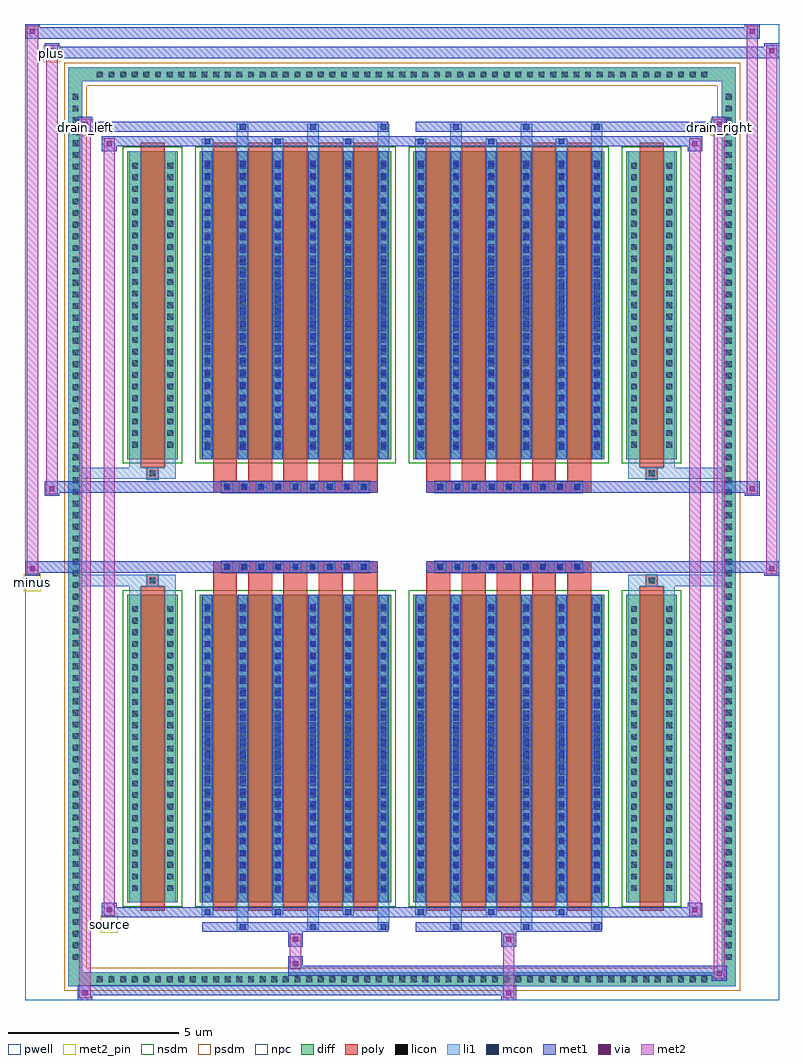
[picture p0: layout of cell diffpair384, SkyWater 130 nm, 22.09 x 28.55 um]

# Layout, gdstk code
import gdstk
lib = gdstk.Library(unit=1e-6, precision=5e-09)
def R(c, l, rs):  # rectangles x0, y0, x1, y1
    for r in rs: c.add(gdstk.rectangle(r[:2], r[2:], *l))
def A(c, l, x, y, w, h, nx, ny, dx, dy):  # array of equal rectangles
    R(c, l, [(x+i*dx, y+j*dy, x+i*dx+w, y+j*dy+h) for i in range(nx) for j in range(ny)])
def P(c, l, *ps):  # polygons
    for p in ps: c.add(gdstk.Polygon(p, *l))
pwell = (64, 44)
diff = (65, 20)
poly = (66, 20)
licon = (66, 44)
li1 = (67, 20)
mcon = (67, 44)
met1 = (68, 20)
via = (68, 44)
met2_pin = (69, 16)
met2 = (69, 20)
nsdm = (93, 44)
psdm = (94, 20)
npc = (95, 20)

diffpair384 = lib.new_cell('diffpair384')
R(diffpair384, pwell, [(-11.03,-13.84,11.03,14.71), (-8.35,-12.03,-0.01,-0.805), (0.01,-12.03,8.35,-0.805), (-8.35,0.805,-0.01,12.03), (0.01,0.805,8.35,12.03)])
A(diffpair384, diff, -9.045, -13.44, 0.41, 0.41, 53, 2, 0.34, 26.47)
A(diffpair384, diff, -9.76, -12.785, 0.41, 0.41, 1, 75, 0, 0.34)
A(diffpair384, diff, 9.35, -12.785, 0.41, 0.41, 1, 75, 0, 0.34)
R(diffpair384, diff, [(-9.045,-13.44,9.045,-13.03), (-9.76,-12.785,-9.35,12.785), (9.35,-12.785,9.76,12.785), (-8.04,-10.985,-6.56,-1.985), (-5.92,-10.985,-0.32,-1.985), (0.32,-10.985,5.92,-1.985), (6.56,-10.985,8.04,-1.985), (-8.04,1.985,-6.56,10.985), (-5.92,1.985,-0.32,10.985), (0.32,1.985,5.92,10.985), (6.56,1.985,8.04,10.985), (-9.045,13.03,9.045,13.44)])
P(diffpair384, diff, [(9.76,13.44),(-9.76,13.44),(-9.76,-13.03),(-9.35,-13.03),(-9.35,13.03),(9.35,13.03),(9.35,-13.03),(-9.35,-13.03),(-9.76,-13.03),(-9.76,-13.44),(9.76,-13.44)])
A(diffpair384, poly, -5.53, -11.235, 0.7, 9.5, 5, 2, 1.03, 12.97)
A(diffpair384, poly, 0.71, -11.235, 0.7, 9.5, 5, 2, 1.03, 12.97)
A(diffpair384, poly, -5.53, -1.735, 0.7, 0.4, 5, 2, 1.03, 3.07)
A(diffpair384, poly, 0.71, -1.735, 0.7, 0.4, 5, 2, 1.03, 3.07)
A(diffpair384, poly, -5.285, -1.335, 0.33, 0.33, 9, 2, 0.5, 2.34)
A(diffpair384, poly, 0.955, -1.335, 0.33, 0.33, 9, 2, 0.5, 2.34)
R(diffpair384, poly, [(-7.65,-11.235,-6.95,-1.735), (6.95,-11.235,7.65,-1.735), (-7.465,-1.735,-7.135,-1.405), (-7.465,-1.735,-7.135,-1.405), (7.135,-1.735,7.465,-1.405), (7.135,-1.735,7.465,-1.405), (-5.53,-1.335,-0.71,-1.005), (0.71,-1.335,5.53,-1.005), (-5.53,1.005,-0.71,1.335), (0.71,1.005,5.53,1.335), (-7.465,1.405,-7.135,1.735), (-7.465,1.405,-7.135,1.735), (7.135,1.405,7.465,1.735), (7.135,1.405,7.465,1.735), (-7.65,1.735,-6.95,11.235), (6.95,1.735,7.65,11.235)])
A(diffpair384, licon, -8.925, -13.32, 0.17, 0.17, 53, 2, 0.34, 26.47)
A(diffpair384, licon, -9.64, -12.665, 0.17, 0.17, 1, 75, 0, 0.34)
A(diffpair384, licon, 9.47, -12.665, 0.17, 0.17, 1, 75, 0, 0.34)
A(diffpair384, licon, -7.9, -10.65, 0.17, 0.17, 1, 25, 0, 0.34)
A(diffpair384, licon, -6.87, -10.65, 0.17, 0.17, 1, 25, 0, 0.34)
A(diffpair384, licon, -5.78, -10.65, 0.17, 0.17, 6, 25, 1.03, 0.34)
A(diffpair384, licon, 0.46, -10.65, 0.17, 0.17, 6, 25, 1.03, 0.34)
A(diffpair384, licon, 6.7, -10.65, 0.17, 0.17, 1, 25, 0, 0.34)
A(diffpair384, licon, 7.73, -10.65, 0.17, 0.17, 1, 25, 0, 0.34)
A(diffpair384, licon, -5.205, -1.255, 0.17, 0.17, 9, 2, 0.5, 2.34)
A(diffpair384, licon, 1.035, -1.255, 0.17, 0.17, 9, 2, 0.5, 2.34)
A(diffpair384, licon, -7.9, 2.32, 0.17, 0.17, 1, 25, 0, 0.34)
A(diffpair384, licon, -6.87, 2.32, 0.17, 0.17, 1, 25, 0, 0.34)
A(diffpair384, licon, -5.78, 2.32, 0.17, 0.17, 6, 25, 1.03, 0.34)
A(diffpair384, licon, 0.46, 2.32, 0.17, 0.17, 6, 25, 1.03, 0.34)
A(diffpair384, licon, 6.7, 2.32, 0.17, 0.17, 1, 25, 0, 0.34)
A(diffpair384, licon, 7.73, 2.32, 0.17, 0.17, 1, 25, 0, 0.34)
R(diffpair384, licon, [(-7.385,-1.655,-7.215,-1.485), (7.215,-1.655,7.385,-1.485), (-7.385,1.485,-7.215,1.655), (7.215,1.485,7.385,1.655)])
A(diffpair384, li1, -9.005, -13.4, 0.33, 0.33, 53, 2, 0.34, 26.47)
A(diffpair384, li1, -9.72, -12.745, 0.33, 0.33, 1, 75, 0, 0.34)
A(diffpair384, li1, 9.39, -12.745, 0.33, 0.33, 1, 75, 0, 0.34)
A(diffpair384, li1, -4.83, -11.79, 0.33, 0.805, 3, 2, 2.06, 22.775)
A(diffpair384, li1, -4.75, -11.79, 0.17, 0.17, 3, 2, 2.06, 23.41)
A(diffpair384, li1, 1.41, -11.79, 0.33, 0.805, 3, 2, 2.06, 22.775)
A(diffpair384, li1, 1.49, -11.79, 0.17, 0.17, 3, 2, 2.06, 23.41)
A(diffpair384, li1, -5.86, -11.36, 0.33, 0.375, 3, 2, 2.06, 22.345)
A(diffpair384, li1, -5.78, -11.36, 0.17, 0.17, 3, 2, 2.06, 22.55)
A(diffpair384, li1, 0.38, -11.36, 0.33, 0.375, 3, 2, 2.06, 22.345)
A(diffpair384, li1, 0.46, -11.36, 0.17, 0.17, 3, 2, 2.06, 22.55)
A(diffpair384, li1, -5.86, -10.985, 0.33, 9, 6, 2, 1.03, 12.97)
A(diffpair384, li1, 0.38, -10.985, 0.33, 9, 6, 2, 1.03, 12.97)
A(diffpair384, li1, -7.98, -10.73, 0.33, 0.33, 1, 25, 0, 0.34)
A(diffpair384, li1, -6.95, -10.73, 0.33, 0.33, 1, 25, 0, 0.34)
A(diffpair384, li1, -5.86, -10.73, 0.33, 0.33, 6, 25, 1.03, 0.34)
A(diffpair384, li1, 0.38, -10.73, 0.33, 0.33, 6, 25, 1.03, 0.34)
A(diffpair384, li1, 6.62, -10.73, 0.33, 0.33, 1, 25, 0, 0.34)
A(diffpair384, li1, 7.65, -10.73, 0.33, 0.33, 1, 25, 0, 0.34)
A(diffpair384, li1, -5.78, -10.71, 0.17, 0.17, 6, 24, 1.03, 0.36)
A(diffpair384, li1, -5.78, -10.71, 0.17, 8.45, 6, 2, 1.03, 12.97)
A(diffpair384, li1, 0.46, -10.71, 0.17, 0.17, 6, 24, 1.03, 0.36)
A(diffpair384, li1, 0.46, -10.71, 0.17, 8.45, 6, 2, 1.03, 12.97)
A(diffpair384, li1, -5.285, -1.335, 0.33, 0.33, 9, 2, 0.5, 2.34)
A(diffpair384, li1, 0.955, -1.335, 0.33, 0.33, 9, 2, 0.5, 2.34)
A(diffpair384, li1, -7.98, 2.24, 0.33, 0.33, 1, 25, 0, 0.34)
A(diffpair384, li1, -6.95, 2.24, 0.33, 0.33, 1, 25, 0, 0.34)
A(diffpair384, li1, -5.86, 2.24, 0.33, 0.33, 6, 25, 1.03, 0.34)
A(diffpair384, li1, 0.38, 2.24, 0.33, 0.33, 6, 25, 1.03, 0.34)
A(diffpair384, li1, 6.62, 2.24, 0.33, 0.33, 1, 25, 0, 0.34)
A(diffpair384, li1, 7.65, 2.24, 0.33, 0.33, 1, 25, 0, 0.34)
A(diffpair384, li1, -5.78, 2.26, 0.17, 0.17, 6, 24, 1.03, 0.36)
A(diffpair384, li1, 0.46, 2.26, 0.17, 0.17, 6, 24, 1.03, 0.36)
R(diffpair384, li1, [(-9.76,-13.44,-9.35,-13.03), (-9.76,-13.44,-9.35,-13.03), (-9.35,-13.44,9.35,-13.03), (9.35,-13.44,9.76,-13.03), (9.35,-13.44,9.76,-13.03), (-9.76,-13.03,-9.35,13.03), (9.35,-13.03,9.76,13.03), (-7.98,-10.985,-7.65,-1.985), (-6.95,-10.985,-6.62,-1.985), (6.62,-10.985,6.95,-1.985), (7.65,-10.985,7.98,-1.985), (-7.98,-1.985,-7.65,-1.405), (-6.95,-1.985,-6.62,-1.405), (6.62,-1.985,6.95,-1.405), (7.65,-1.985,7.98,-1.405), (-9.76,-1.735,-7.465,-1.405), (-7.98,-1.735,-7.465,-1.405), (-7.465,-1.735,-7.135,-1.405), (-7.135,-1.735,-6.62,-1.405), (6.62,-1.735,7.135,-1.405), (7.135,-1.735,7.465,-1.405), (7.135,-1.735,9.76,-1.405), (7.465,-1.735,7.98,-1.405), (-9.76,1.405,-7.465,1.735), (-7.98,1.405,-7.465,1.735), (-7.98,1.405,-7.65,1.985), (-7.465,1.405,-7.135,1.735), (-7.135,1.405,-6.62,1.735), (-6.95,1.405,-6.62,1.985), (6.62,1.405,7.135,1.735), (6.62,1.405,6.95,1.985), (7.135,1.405,7.465,1.735), (7.135,1.405,9.76,1.735), (7.465,1.405,7.98,1.735), (7.65,1.405,7.98,1.985), (-7.98,1.985,-7.65,10.985), (-6.95,1.985,-6.62,10.985), (6.62,1.985,6.95,10.985), (7.65,1.985,7.98,10.985), (-9.76,13.03,-9.35,13.44), (-9.76,13.03,-9.35,13.44), (-9.35,13.03,9.35,13.44), (9.35,13.03,9.76,13.44), (9.35,13.03,9.76,13.44)])
A(diffpair384, mcon, -4.75, -11.79, 0.17, 0.17, 3, 2, 2.06, 23.41)
A(diffpair384, mcon, 1.49, -11.79, 0.17, 0.17, 3, 2, 2.06, 23.41)
A(diffpair384, mcon, -5.78, -11.36, 0.17, 0.17, 3, 2, 2.06, 22.55)
A(diffpair384, mcon, 0.46, -11.36, 0.17, 0.17, 3, 2, 2.06, 22.55)
A(diffpair384, mcon, -5.78, -10.71, 0.17, 0.17, 6, 24, 1.03, 0.36)
A(diffpair384, mcon, 0.46, -10.71, 0.17, 0.17, 6, 24, 1.03, 0.36)
A(diffpair384, mcon, -5.205, -1.255, 0.17, 0.17, 9, 2, 0.5, 2.34)
A(diffpair384, mcon, 1.035, -1.255, 0.17, 0.17, 9, 2, 0.5, 2.34)
A(diffpair384, mcon, -5.78, 2.26, 0.17, 0.17, 6, 24, 1.03, 0.36)
A(diffpair384, mcon, 0.46, 2.26, 0.17, 0.17, 6, 24, 1.03, 0.36)
A(diffpair384, met1, -4.81, -11.85, 0.29, 0.29, 3, 2, 2.06, 23.41)
A(diffpair384, met1, 1.43, -11.85, 0.29, 0.29, 3, 2, 2.06, 23.41)
A(diffpair384, met1, -5.84, -11.42, 0.29, 0.29, 3, 2, 2.06, 22.55)
A(diffpair384, met1, 0.4, -11.42, 0.29, 0.29, 3, 2, 2.06, 22.55)
A(diffpair384, met1, -5.84, -10.985, 0.29, 9, 6, 2, 1.03, 12.97)
A(diffpair384, met1, 0.4, -10.985, 0.29, 9, 6, 2, 1.03, 12.97)
A(diffpair384, met1, -5.84, -10.77, 0.29, 0.29, 6, 24, 1.03, 0.36)
A(diffpair384, met1, 0.4, -10.77, 0.29, 0.29, 6, 24, 1.03, 0.36)
A(diffpair384, met1, -5.265, -1.315, 0.29, 0.29, 9, 2, 0.5, 2.34)
A(diffpair384, met1, 0.975, -1.315, 0.29, 0.29, 9, 2, 0.5, 2.34)
A(diffpair384, met1, -5.84, 2.2, 0.29, 0.29, 6, 24, 1.03, 0.36)
A(diffpair384, met1, 0.4, 2.2, 0.29, 0.29, 6, 24, 1.03, 0.36)
R(diffpair384, met1, [(-9.49,-13.84,-9.06,-13.41), (2.905,-13.84,3.335,-13.41), (-9.49,-13.7,3.335,-13.41), (9.06,-13.27,9.49,-12.84), (-3.335,-13.13,9.49,-12.84), (-3.335,-12.99,-2.905,-12.56), (-3.335,-12.28,-2.905,-11.85), (2.905,-12.28,3.335,-11.85), (-5.84,-11.85,-0.4,-11.56), (0.4,-11.85,5.84,-11.56), (-8.78,-11.42,-8.35,-10.99), (-8.78,-11.42,-5.84,-11.13), (-5.84,-11.42,-0.4,-11.13), (-0.4,-11.42,0.4,-11.13), (0.4,-11.42,5.84,-11.13), (5.84,-11.42,8.78,-11.13), (8.35,-11.42,8.78,-10.99), (-11.03,-1.435,-10.6,-1.005), (10.6,-1.435,11.03,-1.005), (-11.03,-1.335,-0.71,-1.005), (-5.53,-1.335,-0.71,-1.005), (0.71,-1.335,5.53,-1.005), (0.71,-1.335,11.03,-1.005), (-10.46,0.905,-10.03,1.335), (10.03,0.905,10.46,1.335), (-10.46,1.005,-5.53,1.335), (-5.53,1.005,-0.71,1.335), (0.71,1.005,5.53,1.335), (5.53,1.005,10.46,1.335), (-8.78,10.99,-8.35,11.42), (8.35,10.99,8.78,11.42), (-8.78,11.13,-5.84,11.42), (-5.84,11.13,-0.4,11.42), (-0.4,11.13,0.4,11.42), (0.4,11.13,5.84,11.42), (5.84,11.13,8.78,11.42), (-9.49,11.56,-9.06,11.99), (-9.49,11.56,-5.84,11.85), (-5.84,11.56,-0.4,11.85), (0.4,11.56,5.84,11.85), (5.84,11.56,9.49,11.85), (9.06,11.56,9.49,11.99), (-10.46,13.71,-10.03,14.14), (-10.46,13.71,-8.35,14.04), (-8.35,13.71,8.35,14.04), (8.35,13.71,11.03,14.04), (10.6,13.71,11.03,14.14), (-11.03,14.28,-10.6,14.71), (-11.03,14.28,-8.35,14.61), (-8.35,14.28,8.35,14.61), (8.35,14.28,10.46,14.61), (10.03,14.28,10.46,14.71)])
R(diffpair384, via, [(-9.35,-13.7,-9.2,-13.55), (3.045,-13.7,3.195,-13.55), (9.2,-13.13,9.35,-12.98), (-3.195,-12.85,-3.045,-12.7), (-3.195,-12.14,-3.045,-11.99), (3.045,-12.14,3.195,-11.99), (-8.64,-11.28,-8.49,-11.13), (8.49,-11.28,8.64,-11.13), (-10.89,-1.295,-10.74,-1.145), (10.74,-1.295,10.89,-1.145), (-10.32,1.045,-10.17,1.195), (10.17,1.045,10.32,1.195), (-8.64,11.13,-8.49,11.28), (8.49,11.13,8.64,11.28), (-9.35,11.7,-9.2,11.85), (9.2,11.7,9.35,11.85), (-10.32,13.85,-10.17,14), (10.74,13.85,10.89,14), (-10.89,14.42,-10.74,14.57), (10.17,14.42,10.32,14.57)])
R(diffpair384, met2_pin, [(-8.815,-11.87,-8.315,-11.37), (-11.065,-1.885,-10.565,-1.385), (-9.525,11.44,-9.025,11.94), (9.025,11.44,9.525,11.94), (-10.495,13.59,-9.995,14.09)])
R(diffpair384, met2, [(-9.44,-13.79,-9.11,-13.46), (-9.44,-13.79,-9.11,11.94), (2.955,-13.79,3.285,-13.46), (2.955,-13.46,3.285,-12.23), (9.11,-13.22,9.44,-12.89), (9.11,-13.22,9.44,11.94), (-3.285,-12.94,-2.955,-12.61), (-3.285,-12.61,-2.955,-12.23), (-3.285,-12.23,-2.955,-11.9), (2.955,-12.23,3.285,-11.9), (-8.73,-11.37,-8.4,-11.04), (-8.73,-11.37,-8.4,11.37), (8.4,-11.37,8.73,-11.04), (8.4,-11.37,8.73,11.37), (-10.98,-1.385,-10.65,-1.055), (-10.98,-1.385,-10.65,14.66), (10.65,-1.385,10.98,-1.055), (10.65,-1.385,10.98,14.09), (-10.41,0.955,-10.08,1.285), (-10.41,0.955,-10.08,14.09), (10.08,0.955,10.41,1.285), (10.08,0.955,10.41,14.66), (-8.73,11.04,-8.4,11.37), (8.4,11.04,8.73,11.37), (-9.44,11.61,-9.11,11.94), (9.11,11.61,9.44,11.94), (-10.41,13.76,-10.08,14.09), (10.65,13.76,10.98,14.09), (-10.98,14.33,-10.65,14.66), (10.08,14.33,10.41,14.66)])
P(diffpair384, met2, [(10.98,-1.385),(10.98,-1.385),(10.98,-1.055),(10.98,-1.055)],
  [(10.98,13.76),(10.98,13.76),(10.98,14.09),(10.98,14.09)],
  [(-10.65,-1.385),(-10.65,-1.385),(-10.65,-1.055),(-10.65,-1.055)],
  [(-10.65,14.33),(-10.65,14.33),(-10.65,14.66),(-10.65,14.66)],
  [(10.41,0.955),(10.41,0.955),(10.41,1.285),(10.41,1.285)],
  [(10.41,14.33),(10.41,14.33),(10.41,14.66),(10.41,14.66)],
  [(-10.08,0.955),(-10.08,0.955),(-10.08,1.285),(-10.08,1.285)],
  [(-10.08,13.76),(-10.08,13.76),(-10.08,14.09),(-10.08,14.09)],
  [(-9.11,-13.79),(-9.11,-13.79),(-9.11,-13.46),(-9.11,-13.46)],
  [(-9.11,11.61),(-9.11,11.61),(-9.11,11.94),(-9.11,11.94)],
  [(9.44,-13.22),(9.44,-13.22),(9.44,-12.89),(9.44,-12.89)],
  [(9.44,11.61),(9.44,11.61),(9.44,11.94),(9.44,11.94)],
  [(-8.4,-11.37),(-8.4,-11.37),(-8.4,-11.04),(-8.4,-11.04)],
  [(-8.4,11.04),(-8.4,11.04),(-8.4,11.37),(-8.4,11.37)],
  [(8.73,-11.37),(8.73,-11.37),(8.73,-11.04),(8.73,-11.04)],
  [(8.73,11.04),(8.73,11.04),(8.73,11.37),(8.73,11.37)])
R(diffpair384, nsdm, [(-8.17,-11.115,-6.43,-1.855), (-6.05,-11.115,-0.19,-1.855), (0.19,-11.115,6.05,-1.855), (6.43,-11.115,8.17,-1.855), (-8.17,1.855,-6.43,11.115), (-6.05,1.855,-0.19,11.115), (0.19,1.855,6.05,11.115), (6.43,1.855,8.17,11.115)])
P(diffpair384, psdm, [(9.89,13.57),(-9.89,13.57),(-9.89,-12.9),(-9.22,-12.9),(-9.22,12.9),(9.22,12.9),(9.22,-12.9),(-9.22,-12.9),(-9.89,-12.9),(-9.89,-13.57),(9.89,-13.57)])
A(diffpair384, npc, -5.305, -1.355, 0.37, 0.37, 9, 2, 0.5, 2.34)
A(diffpair384, npc, 0.935, -1.355, 0.37, 0.37, 9, 2, 0.5, 2.34)
R(diffpair384, npc, [(-7.485,-1.755,-7.115,-1.385), (7.115,-1.755,7.485,-1.385), (-5.305,-1.355,-4.435,-0.985), (-5.305,-1.355,-4.435,-0.985), (-4.805,-1.355,-3.935,-0.985), (-4.805,-1.355,-3.935,-0.985), (-4.305,-1.355,-3.435,-0.985), (-4.305,-1.355,-3.435,-0.985), (-3.805,-1.355,-2.935,-0.985), (-3.805,-1.355,-2.935,-0.985), (-3.305,-1.355,-2.435,-0.985), (-3.305,-1.355,-2.435,-0.985), (-2.805,-1.355,-1.935,-0.985), (-2.805,-1.355,-1.935,-0.985), (-2.305,-1.355,-1.435,-0.985), (-2.305,-1.355,-1.435,-0.985), (-1.805,-1.355,-0.935,-0.985), (-1.805,-1.355,-0.935,-0.985), (0.935,-1.355,1.805,-0.985), (0.935,-1.355,1.805,-0.985), (1.435,-1.355,2.305,-0.985), (1.435,-1.355,2.305,-0.985), (1.935,-1.355,2.805,-0.985), (1.935,-1.355,2.805,-0.985), (2.435,-1.355,3.305,-0.985), (2.435,-1.355,3.305,-0.985), (2.935,-1.355,3.805,-0.985), (2.935,-1.355,3.805,-0.985), (3.435,-1.355,4.305,-0.985), (3.435,-1.355,4.305,-0.985), (3.935,-1.355,4.805,-0.985), (3.935,-1.355,4.805,-0.985), (4.435,-1.355,5.305,-0.985), (4.435,-1.355,5.305,-0.985), (-5.305,0.985,-4.435,1.355), (-5.305,0.985,-4.435,1.355), (-4.805,0.985,-3.935,1.355), (-4.805,0.985,-3.935,1.355), (-4.305,0.985,-3.435,1.355), (-4.305,0.985,-3.435,1.355), (-3.805,0.985,-2.935,1.355), (-3.805,0.985,-2.935,1.355), (-3.305,0.985,-2.435,1.355), (-3.305,0.985,-2.435,1.355), (-2.805,0.985,-1.935,1.355), (-2.805,0.985,-1.935,1.355), (-2.305,0.985,-1.435,1.355), (-2.305,0.985,-1.435,1.355), (-1.805,0.985,-0.935,1.355), (-1.805,0.985,-0.935,1.355), (0.935,0.985,1.805,1.355), (0.935,0.985,1.805,1.355), (1.435,0.985,2.305,1.355), (1.435,0.985,2.305,1.355), (1.935,0.985,2.805,1.355), (1.935,0.985,2.805,1.355), (2.435,0.985,3.305,1.355), (2.435,0.985,3.305,1.355), (2.935,0.985,3.805,1.355), (2.935,0.985,3.805,1.355), (3.435,0.985,4.305,1.355), (3.435,0.985,4.305,1.355), (3.935,0.985,4.805,1.355), (3.935,0.985,4.805,1.355), (4.435,0.985,5.305,1.355), (4.435,0.985,5.305,1.355), (-7.485,1.385,-7.115,1.755), (7.115,1.385,7.485,1.755)])
diffpair384.add(gdstk.Label('minus', (-10.815,-1.635), layer=69, texttype=5))
diffpair384.add(gdstk.Label('drain_right', (9.275,11.69), layer=69, texttype=5))
diffpair384.add(gdstk.Label('drain_left', (-9.275,11.69), layer=69, texttype=5))
diffpair384.add(gdstk.Label('source', (-8.565,-11.62), layer=69, texttype=5))
diffpair384.add(gdstk.Label('plus', (-10.245,13.84), layer=69, texttype=5))

lib.write_gds('diffpair384.gds')
